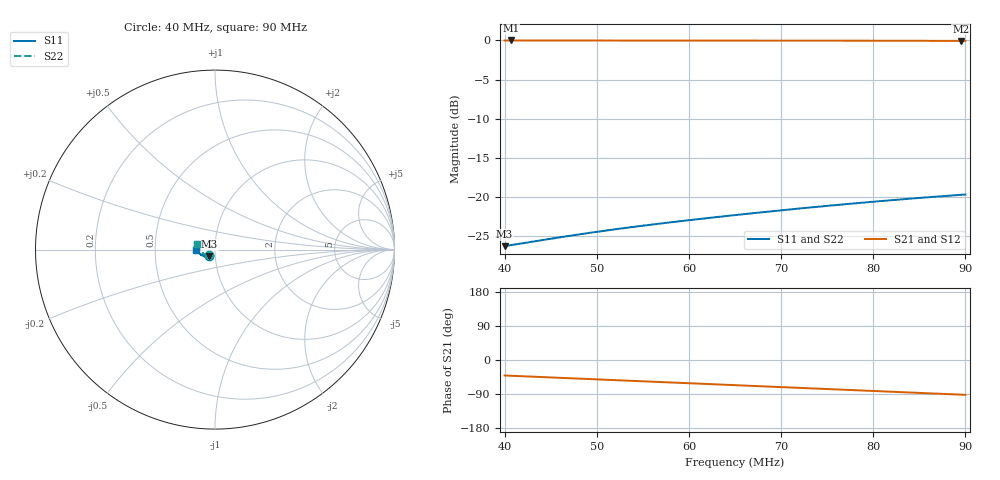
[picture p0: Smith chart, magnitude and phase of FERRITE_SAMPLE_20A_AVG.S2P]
!Agilent Technologies,E5061B,MY49102235,A.02.00
!Date: Mon Jul 03 10:57:47 2023
!Data & Calibration Information:
!Freq	S11:SOLT2(ON)	S21:SOLT2(ON)	S12:SOLT2(ON)	S22:SOLT2(ON)
# Hz S RI R 50
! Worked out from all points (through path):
!   1600 points, 40 MHz to 90 MHz, reference 50 ohm
!   highest |S21| = -0.01 dB at 40.69 MHz (marker M1); lowest = -0.1 dB at 89.5 MHz (marker M2)
!   group delay of S21, straight-line fit = 2.84 ns
!   lowest |S11| = -26.3 dB at 40 MHz (marker M3), VSWR 1.10, Z = 46.9 - j3.51 ohm
!   |S11| at or under -10 dB: start of sweep to end of sweep
!   |S22| runs from -26.4 to -19.7 dB; largest |S21 - S12| = 0.0014
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4e7  -0.0311 -0.0373  0.7553 -0.6539  0.7554 -0.653  -0.0359 -0.0317
4.068793e7  -0.032 -0.0375  0.7474 -0.6632  0.7474 -0.6621  -0.0369 -0.0318
4.303315e7  -0.0352 -0.038  0.7185 -0.6936  0.7188 -0.6929  -0.0407 -0.0316
4.444028e7  -0.0373 -0.0385  0.7008 -0.7112  0.7012 -0.7107  -0.043 -0.0313
4.834897e7  -0.043 -0.039  0.6495 -0.758  0.6495 -0.7576  -0.0493 -0.0299
5.225766e7  -0.049 -0.039  0.5948 -0.8012  0.5948 -0.8007  -0.0555 -0.0276
5.482176e7  -0.0527 -0.0387  0.5575 -0.8271  0.5576 -0.8268  -0.0595 -0.0257
5.666667e7  -0.0556 -0.0383  0.53 -0.8447  0.5299 -0.8443  -0.0624 -0.0239
6.082552e7  -0.0622 -0.0366  0.4661 -0.8813  0.466 -0.8807  -0.0683 -0.0199
6.501563e7  -0.069 -0.0337  0.3989 -0.9136  0.3992 -0.9126  -0.0742 -0.0152
6.901814e7  -0.0755 -0.03  0.3327 -0.9396  0.3333 -0.9387  -0.0796 -0.0101
7.133208e7  -0.0791 -0.0274  0.2935 -0.9524  0.2942 -0.9515  -0.0827 -0.0066
7.33646e7  -0.0823 -0.0252  0.2586 -0.9623  0.2594 -0.9615  -0.0853 -0.00345
7.530331e7  -0.0853 -0.0227  0.225 -0.9703  0.2257 -0.9698  -0.0876 -0.000213
7.746091e7  -0.0882 -0.0199  0.1875 -0.9779  0.188 -0.9774  -0.0901 0.00358
7.936836e7  -0.091 -0.0174  0.1539 -0.9832  0.1545 -0.9829  -0.092 0.00732
8.16823e7  -0.0942 -0.0142  0.1133 -0.9883  0.1139 -0.9881  -0.0942 0.012
8.362101e7  -0.0966 -0.0112  0.079 -0.9911  0.0796 -0.9909  -0.0957 0.0161
8.596623e7  -0.0994 -0.00759  0.0379 -0.9933  0.0382 -0.993  -0.0971 0.0212
8.949969e7  -0.1033 -0.00152  -0.0241 -0.9931  -0.0239 -0.9926  -0.099 0.0292
8.981238e7  -0.1036 -0.000988  -0.0295 -0.9931  -0.0295 -0.9925  -0.099 0.03
9e7  -0.1039 -0.000681  -0.0327 -0.9928  -0.0327 -0.9923  -0.0992 0.0304
